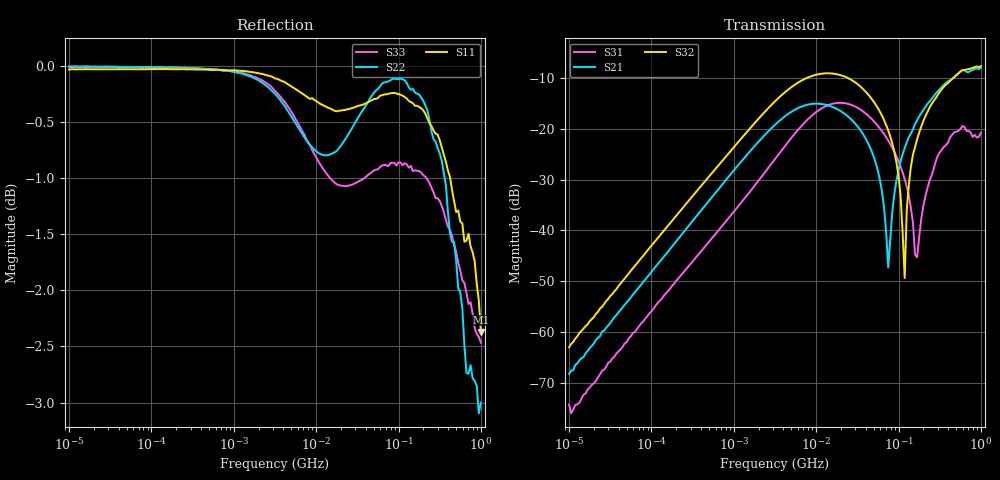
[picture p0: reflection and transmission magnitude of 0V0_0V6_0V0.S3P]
!Keysight Technologies,E5080A,MY55100144,A.11.70.03
!Date: Monday, November 13, 2017 17:23:55
!Correction: S11(Full 3 Port(1,2,3))
!S12(Full 3 Port(1,2,3))
!S13(Full 3 Port(1,2,3))
!S21(Full 3 Port(1,2,3))
!S22(Full 3 Port(1,2,3))
!S23(Full 3 Port(1,2,3))
!S31(Full 3 Port(1,2,3))
!S32(Full 3 Port(1,2,3))
!S33(Full 3 Port(1,2,3))
!S3P File: Measurements: <S11,S12,S13>,
!<S21,S22,S23>,
!<S31,S32,S33>:Log Frequency Sweep
# Hz S  RI  R 50
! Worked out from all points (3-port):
!   201 points, 10 kHz to 1 GHz, reference 50 ohm
!   strongest paths, dB at 10 kHz, 177.8 kHz, 3.162 MHz, 56.23 MHz, 1 GHz:
!     S32: -63.0, -38.1, -14.6, -16.0, -7.7
!     S21: -68.3, -43.2, -19.2, -28.3, -8.0
!     S31: -74.3, -50.9, -26.0, -19.4, -20.8
!   lowest |S11| = -2.4 dB at 1 GHz (marker M1), VSWR 7.38, Z = 369 + j9.54 ohm
!   |S11| at or under -10 dB: nowhere
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10000  0.9967 -0.00163  2.23e-06 0.000415  6.53e-08 0.000185
       -1.53e-06 0.000386  0.9989 -0.00377  2.23e-05 0.000715
       4.31e-06 0.000193  6.03e-06 0.000707  1 -0.00239
3162278  0.8551 -0.4942  0.0659 0.0874  0.0109 0.0492
         0.0659 0.0873  0.6355 -0.7355  0.1011 0.1563
         0.0108 0.0492  0.1013 0.1563  0.935 -0.2761
1.258925e7  -0.0599 -0.9583  0.1718 -0.0231  0.148 0.0714
            0.1719 -0.0234  -0.4868 -0.7721  0.3506 0.0177
            0.1481 0.0714  0.3504 0.0177  0.5222 -0.731
4.731513e7  -0.8996 -0.352  0.0276 -0.053  0.0784 -0.0973
            0.0276 -0.053  -0.9607 -0.1347  0.0995 -0.1698
            0.0783 -0.0973  0.0994 -0.1696  -0.5466 -0.7112
7.498942e7  -0.9675 -0.0951  0.00431 -0.00045  0.0223 -0.0732
            0.00429 -0.000457  -0.9778 0.116  0.0178 -0.0944
            0.0223 -0.0732  0.0179 -0.0944  -0.7969 -0.4236
1.188502e8  -0.9563 0.1561  0.0188 0.0619  0.000439 -0.0321
            0.0189 0.0619  -0.9047 0.3916  0.00116 0.00318
            0.000465 -0.032  0.00116 0.00319  -0.8997 -0.1
1.333521e8  -0.9389 0.223  0.0302 0.0775  -0.000771 -0.0222
            0.0302 0.0775  -0.8627 0.4622  0.00761 0.0268
            -0.000709 -0.0222  0.00758 0.0269  -0.901 -0.0177
1.883649e8  -0.8585 0.4246  0.0831 0.1154  0.0116 0.00558
            0.0833 0.1153  -0.6892 0.6804  0.0549 0.0894
            0.0115 0.00563  0.0548 0.0893  -0.8666 0.2305
5.308844e8  0.0112 0.8622  0.3245 -0.1295  0.0705 -0.0641
            0.3243 -0.1292  0.502 0.6178  0.3346 -0.1007
            0.0702 -0.0645  0.3346 -0.1008  -0.1355 0.806
1e9  0.7612 0.00544  -0.0945 -0.3866  -0.056 -0.0723
     -0.0949 -0.3861  0.5914 -0.3889  -0.0453 -0.4109
     -0.0563 -0.0723  -0.0447 -0.411  0.6863 0.3093
